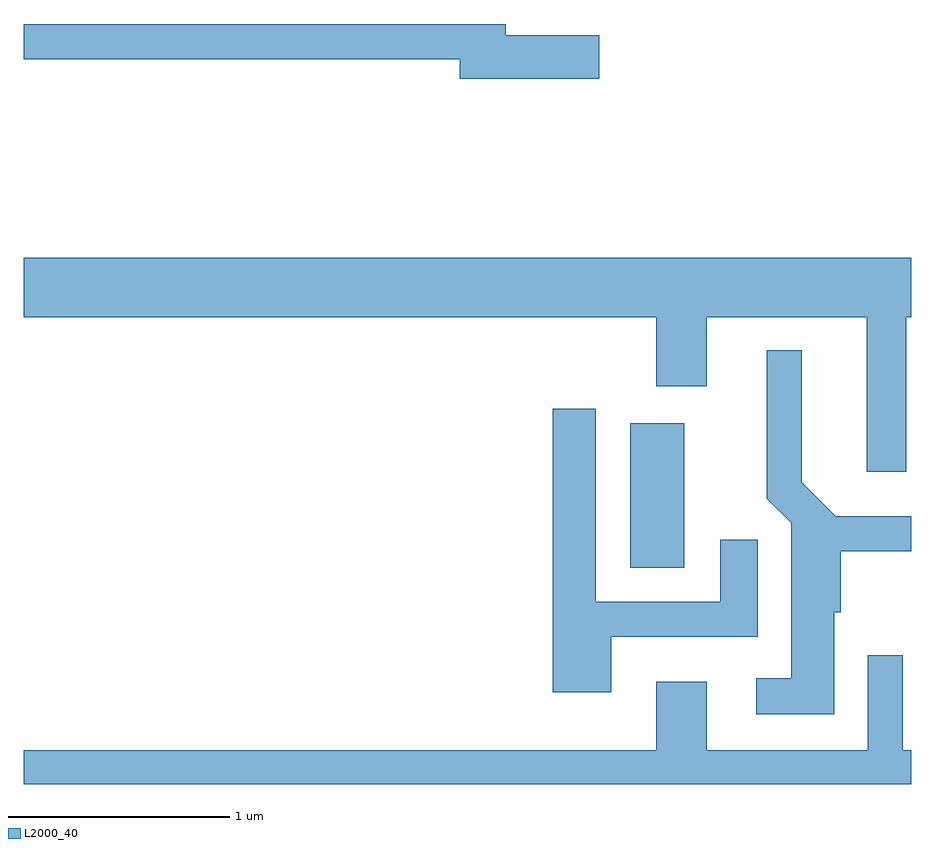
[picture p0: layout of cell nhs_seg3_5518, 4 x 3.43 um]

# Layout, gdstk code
import gdstk
lib = gdstk.Library(unit=1e-6, precision=1e-09)
def R(c, l, rs):  # rectangles x0, y0, x1, y1
    for r in rs: c.add(gdstk.rectangle(r[:2], r[2:], *l))
def P(c, l, *ps):  # polygons
    for p in ps: c.add(gdstk.Polygon(p, *l))
L2000_40 = (2000, 40)

nhs_seg3_5518 = lib.new_cell('nhs_seg3_5518')
R(nhs_seg3_5518, L2000_40, [(350.346,1144.866,350.589,1145.519)])
P(nhs_seg3_5518, L2000_40, [(350.204,1147.269),(349.784,1147.269),(349.784,1147.319),(347.611,1147.319),(347.611,1147.161),(349.576,1147.161),(349.576,1147.071),(350.204,1147.071)],
  [(351.589,1145.996),(351.611,1145.996),(351.611,1146.264),(347.611,1146.264),(347.611,1145.996),(350.461,1145.996),(350.461,1145.686),(350.689,1145.686),(350.689,1145.996),(351.411,1145.996),(351.411,1145.301),(351.589,1145.301)],
  [(351.264,1144.666),(351.294,1144.666),(351.294,1144.941),(351.611,1144.941),(351.611,1145.099),(351.272,1145.099),(351.119,1145.252),(351.119,1145.848),(350.961,1145.848),(350.961,1145.179),(351.071,1145.069),(351.071,1144.369),(350.913,1144.369),(350.913,1144.206),(351.264,1144.206)],
  [(350.259,1144.556),(350.919,1144.556),(350.919,1144.993),(350.751,1144.993),(350.751,1144.714),(350.189,1144.714),(350.189,1145.584),(349.996,1145.584),(349.996,1144.306),(350.259,1144.306)],
  [(351.611,1144.044),(351.574,1144.044),(351.574,1144.473),(351.416,1144.473),(351.416,1144.044),(350.689,1144.044),(350.689,1144.354),(350.461,1144.354),(350.461,1144.044),(347.611,1144.044),(347.611,1143.892),(351.611,1143.892)])

lib.write_gds('nhs_seg3_5518.gds')
